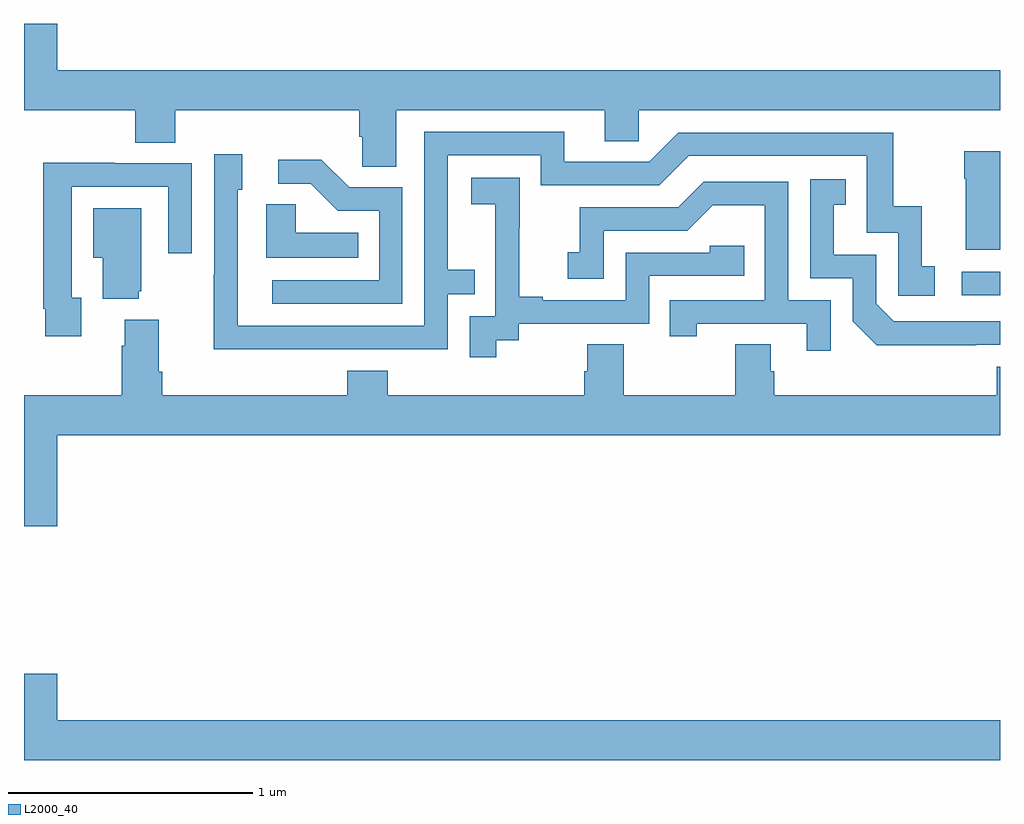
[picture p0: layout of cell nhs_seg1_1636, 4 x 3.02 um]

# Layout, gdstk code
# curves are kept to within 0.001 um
import gdstk
lib = gdstk.Library(unit=1e-6, precision=1e-09)
def R(c, l, rs):  # rectangles x0, y0, x1, y1
    for r in rs: c.add(gdstk.rectangle(r[:2], r[2:], *l))
def P(c, l, *ps):  # polygons
    for p in ps: c.add(gdstk.Polygon(p, *l))
L2000_40 = (2000, 40)

nhs_seg1_1636 = lib.new_cell('nhs_seg1_1636')
R(nhs_seg1_1636, L2000_40, [(204.843,515.01,205,515.106)])
P(nhs_seg1_1636, L2000_40, [(202.525,515.768),(203.381,515.768),(203.381,515.641),(203.52,515.641),(203.52,515.768),(205,515.768),(205,515.932),(201.136,515.932),(201.136,516.121),(201,516.121),(201,515.768),(201.455,515.768),(201.455,515.635),(201.62,515.635),(201.62,515.768),(202.373,515.768),(202.373,515.659),(202.386,515.659),(202.386,515.536),(202.525,515.536)],
  [(202.241,514.788),(202.737,514.788),(202.737,515.013),(202.847,515.013),(202.847,515.114),(202.737,515.114),(202.737,515.583),(203.118,515.583),(203.118,515.46),(203.604,515.46),(203.724,515.58),(204.453,515.58),(204.453,515.265),(204.582,515.265),(204.582,515.007),(204.733,515.007),(204.733,515.127),(204.68,515.127),(204.68,515.374),(204.562,515.374),(204.562,515.676),(203.682,515.676),(203.562,515.556),(203.215,515.556),(203.215,515.679),(202.641,515.679),(202.641,514.884),(201.876,514.884),(201.876,515.442),(201.895,515.442),(201.895,515.587),(201.78,515.587),(201.78,515.093),(201.778,515.093),(201.778,514.787)],
  [(205,515.599),(204.853,515.599),(204.853,515.486),(204.86,515.486),(204.86,515.195),(205,515.195)],
  [(202.551,515.451),(202.332,515.451),(202.219,515.564),(202.041,515.564),(202.041,515.466),(202.175,515.466),(202.286,515.355),(202.455,515.355),(202.455,515.07),(202.017,515.07),(202.017,514.974),(202.551,514.974)],
  [(201.235,514.998),(201.195,514.998),(201.195,515.454),(201.591,515.454),(201.591,515.181),(201.687,515.181),(201.687,515.55),(201.371,515.55),(201.371,515.552),(201.079,515.552),(201.079,514.954),(201.087,514.954),(201.087,514.842),(201.235,514.842)],
  [(202.936,514.825),(203.028,514.825),(203.028,514.893),(203.562,514.893),(203.562,515.088),(203.951,515.088),(203.951,515.211),(203.811,515.211),(203.811,515.184),(203.466,515.184),(203.466,514.989),(203.125,514.989),(203.125,515.002),(203.03,515.002),(203.03,515.285),(203.031,515.285),(203.031,515.491),(202.833,515.491),(202.833,515.381),(202.931,515.381),(202.931,515.153),(202.932,515.153),(202.932,514.923),(202.827,514.923),(202.827,514.755),(202.936,514.755)],
  [(204.902,514.806),(205,514.806),(205,514.902),(204.564,514.902),(204.492,514.974),(204.492,515.175),(204.319,515.175),(204.319,515.379),(204.368,515.379),(204.368,515.485),(204.222,515.485),(204.222,515.079),(204.396,515.079),(204.396,514.902),(204.494,514.805)],
  [(204.306,514.989),(204.132,514.989),(204.132,515.475),(203.786,515.475),(203.681,515.37),(203.278,515.37),(203.278,515.185),(203.229,515.185),(203.229,515.076),(203.376,515.076),(203.376,515.274),(203.718,515.274),(203.822,515.378),(204.036,515.378),(204.036,514.989),(203.647,514.989),(203.647,514.842),(203.758,514.842),(203.758,514.893),(204.209,514.893),(204.209,514.782),(204.306,514.782)],
  [(202.37,515.266),(202.113,515.266),(202.113,515.381),(201.992,515.381),(201.992,515.162),(202.37,515.162)],
  [(201.47,515.025),(201.481,515.025),(201.481,515.365),(201.284,515.365),(201.284,515.162),(201.323,515.162),(201.323,514.994),(201.47,514.994)],
  [(201.136,514.436),(205,514.436),(205,514.717),(204.986,514.717),(204.986,514.6),(204.074,514.6),(204.074,514.698),(204.061,514.698),(204.061,514.808),(203.914,514.808),(203.914,514.6),(203.457,514.6),(203.457,514.808),(203.309,514.808),(203.309,514.698),(203.297,514.698),(203.297,514.6),(202.49,514.6),(202.49,514.699),(202.325,514.699),(202.325,514.6),(201.566,514.6),(201.566,514.696),(201.553,514.696),(201.553,514.909),(201.413,514.909),(201.413,514.802),(201.401,514.802),(201.401,514.6),(201,514.6),(201,514.062),(201.136,514.062)],
  [(205,513.268),(201.136,513.268),(201.136,513.457),(201,513.457),(201,513.104),(205,513.104)])

lib.write_gds('nhs_seg1_1636.gds')
